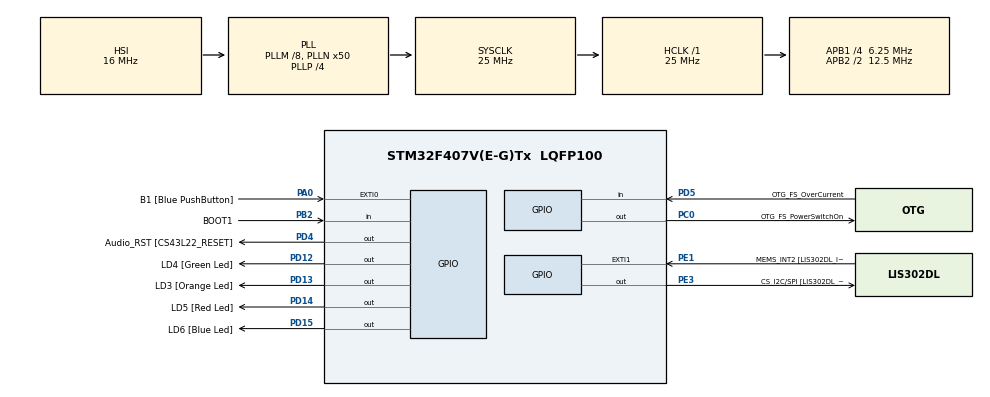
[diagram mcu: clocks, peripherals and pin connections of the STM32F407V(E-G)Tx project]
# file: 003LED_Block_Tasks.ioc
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Mcu.Family=STM32F4
Mcu.Name=STM32F407V(E-G)Tx
Mcu.Package=LQFP100
NVIC.PriorityGroup=NVIC_PRIORITYGROUP_4
NVIC.TIM6_DAC_IRQn=true\:15\:0\:false\:false\:true\:false\:true
NVIC.TimeBase=TIM6_DAC_IRQn
NVIC.TimeBaseIP=TIM6
PA0-WKUP.GPIO_Label=B1 [Blue PushButton]
PA0-WKUP.Signal=GPXTI0
PA10.GPIO_Label=OTG_FS_ID
PA10.GPIO_Mode=GPIO_MODE_AF_PP
PA10.GPIO_PuPd=GPIO_NOPULL
PA10.GPIO_Speed=GPIO_SPEED_FREQ_LOW
PA10.Signal=USB_OTG_FS_ID
PA11.GPIO_Label=OTG_FS_DM
PA11.GPIO_Mode=GPIO_MODE_AF_PP
PA11.GPIO_PuPd=GPIO_NOPULL
PA11.GPIO_Speed=GPIO_SPEED_FREQ_LOW
PA11.Signal=USB_OTG_FS_DM
PA12.GPIO_Label=OTG_FS_DP
PA12.GPIO_Mode=GPIO_MODE_AF_PP
PA12.GPIO_PuPd=GPIO_NOPULL
PA12.GPIO_Speed=GPIO_SPEED_FREQ_LOW
PA12.Signal=USB_OTG_FS_DP
PA13.GPIO_Label=SWDIO
PA13.Signal=SYS_JTMS-SWDIO
PA14.GPIO_Label=SWCLK
PA14.Signal=SYS_JTCK-SWCLK
PA4.GPIO_Label=I2S3_WS [CS43L22_LRCK]
PA4.GPIO_Mode=GPIO_MODE_AF_PP
PA4.GPIO_PuPd=GPIO_NOPULL
PA4.GPIO_Speed=GPIO_SPEED_FREQ_LOW
PA4.Signal=I2S3_WS
PA5.GPIO_Label=SPI1_SCK [LIS302DL_SCL/SPC]
PA5.GPIO_Mode=GPIO_MODE_AF_PP
PA5.GPIO_PuPd=GPIO_NOPULL
PA5.GPIO_Speed=GPIO_SPEED_FREQ_LOW
PA5.Signal=SPI1_SCK
PA6.GPIO_Label=SPI1_MISO [LIS302DL_SDO]
PA6.GPIO_Mode=GPIO_MODE_AF_PP
PA6.GPIO_PuPd=GPIO_NOPULL
PA6.GPIO_Speed=GPIO_SPEED_FREQ_LOW
PA6.Signal=SPI1_MISO
PA7.GPIO_Label=SPI1_MOSI [LIS302DL_SDA/SDI/SDO]
PA7.GPIO_Mode=GPIO_MODE_AF_PP
PA7.GPIO_PuPd=GPIO_NOPULL
PA7.GPIO_Speed=GPIO_SPEED_FREQ_LOW
PA7.Signal=SPI1_MOSI
PA9.GPIO_Label=VBUS_FS
PA9.GPIO_Mode=GPIO_MODE_INPUT
PA9.GPIO_PuPd=GPIO_NOPULL
PA9.Signal=USB_OTG_FS_VBUS
PB10.GPIO_Label=CLK_IN [MP45DT02_CLK]
PB10.GPIO_Mode=GPIO_MODE_AF_PP
PB10.GPIO_PuPd=GPIO_NOPULL
PB10.GPIO_Speed=GPIO_SPEED_FREQ_LOW
PB10.Signal=I2S2_CK
PB2.GPIO_Label=BOOT1
PB2.GPIO_Mode=GPIO_MODE_INPUT
PB2.GPIO_PuPd=GPIO_NOPULL
PB2.Signal=GPIO_Input
PB3.GPIO_Label=SWO
PB3.Signal=SYS_JTDO-SWO
PB6.GPIO_Label=Audio_SCL [CS43L22_SCL]
PB6.GPIO_Mode=GPIO_MODE_AF_OD
PB6.GPIO_PuPd=GPIO_NOPULL
PB6.GPIO_Speed=GPIO_SPEED_FREQ_LOW
PB6.Signal=I2C1_SCL
PB9.GPIO_Label=Audio_SDA [CS43L22_SDA]
PB9.GPIO_Mode=GPIO_MODE_AF_OD
PB9.GPIO_PuPd=GPIO_NOPULL
PB9.GPIO_Speed=GPIO_SPEED_FREQ_LOW
PB9.Signal=I2C1_SDA
PC0.GPIO_Label=OTG_FS_PowerSwitchOn
PC0.GPIO_PuPd=GPIO_NOPULL
PC0.GPIO_Speed=GPIO_SPEED_FREQ_LOW
PC0.PinState=GPIO_PIN_SET
PC0.Signal=GPIO_Output
PC10.GPIO_Label=I2S3_SCK [CS43L22_SCLK]
PC10.GPIO_Mode=GPIO_MODE_AF_PP
PC10.GPIO_PuPd=GPIO_NOPULL
PC10.GPIO_Speed=GPIO_SPEED_FREQ_LOW
PC10.Signal=I2S3_CK
PC12.GPIO_Label=I2S3_SD [CS43L22_SDIN]
PC12.GPIO_Mode=GPIO_MODE_AF_PP
PC12.GPIO_PuPd=GPIO_NOPULL
PC12.GPIO_Speed=GPIO_SPEED_FREQ_LOW
PC12.Signal=I2S3_SD
PC14-OSC32_IN.GPIO_Label=PC14-OSC32_IN
PC14-OSC32_IN.Signal=RCC_OSC32_IN
PC15-OSC32_OUT.GPIO_Label=PC15-OSC32_OUT
PC15-OSC32_OUT.Signal=RCC_OSC32_OUT
PC3.GPIO_Label=PDM_OUT [MP45DT02_DOUT]
PC3.GPIO_Mode=GPIO_MODE_AF_PP
PC3.GPIO_PuPd=GPIO_NOPULL
PC3.GPIO_Speed=GPIO_SPEED_FREQ_LOW
PC3.Signal=I2S2_SD
PC7.GPIO_Label=I2S3_MCK [CS43L22_MCLK]
PC7.GPIO_Mode=GPIO_MODE_AF_PP
PC7.GPIO_PuPd=GPIO_NOPULL
PC7.GPIO_Speed=GPIO_SPEED_FREQ_LOW
PC7.Signal=I2S3_MCK
PD12.GPIO_Label=LD4 [Green Led]
PD12.GPIO_PuPd=GPIO_NOPULL
PD12.GPIO_Speed=GPIO_SPEED_FREQ_LOW
PD12.Signal=GPIO_Output
PD13.GPIO_Label=LD3 [Orange Led]
PD13.GPIO_PuPd=GPIO_NOPULL
PD13.GPIO_Speed=GPIO_SPEED_FREQ_LOW
PD13.Signal=GPIO_Output
PD14.GPIO_Label=LD5 [Red Led]
PD14.GPIO_PuPd=GPIO_NOPULL
PD14.GPIO_Speed=GPIO_SPEED_FREQ_LOW
PD14.Signal=GPIO_Output
PD15.GPIO_Label=LD6 [Blue Led]
PD15.GPIO_PuPd=GPIO_NOPULL
PD15.GPIO_Speed=GPIO_SPEED_FREQ_LOW
PD15.Signal=GPIO_Output
PD4.GPIO_Label=Audio_RST [CS43L22_RESET]
PD4.GPIO_PuPd=GPIO_NOPULL
PD4.GPIO_Speed=GPIO_SPEED_FREQ_LOW
PD4.Signal=GPIO_Output
PD5.GPIO_Label=OTG_FS_OverCurrent
PD5.GPIO_Mode=GPIO_MODE_INPUT
PD5.GPIO_PuPd=GPIO_NOPULL
PD5.Signal=GPIO_Input
PE1.GPIO_Label=MEMS_INT2 [LIS302DL_INT2]
PE1.GPIO_ModeDefaultEXTI=GPIO_MODE_EVT_RISING
PE1.GPIO_PuPd=GPIO_NOPULL
PE1.Signal=GPXTI1
PE3.GPIO_Label=CS_I2C/SPI [LIS302DL_CS_I2C/SPI]
PE3.GPIO_PuPd=GPIO_NOPULL
PE3.GPIO_Speed=GPIO_SPEED_FREQ_LOW
PE3.Signal=GPIO_Output
PH0-OSC_IN.GPIO_Label=PH0-OSC_IN
PH0-OSC_IN.Signal=RCC_OSC_IN
PH1-OSC_OUT.GPIO_Label=PH1-OSC_OUT
PH1-OSC_OUT.Signal=RCC_OSC_OUT
ProjectManager.HeapSize=0x200
ProjectManager.StackSize=0x400
ProjectManager.TargetToolchain=STM32CubeIDE
RCC.48MHZClocksFreq_Value=14285714.285714285
RCC.AHBFreq_Value=25000000
RCC.APB1CLKDivider=RCC_HCLK_DIV4
RCC.APB1Freq_Value=6250000
RCC.APB1TimFreq_Value=12500000
RCC.APB2CLKDivider=RCC_HCLK_DIV2
RCC.APB2Freq_Value=12500000
RCC.APB2TimFreq_Value=25000000
RCC.CortexFreq_Value=25000000
RCC.HCLKFreq_Value=25000000
RCC.HSE_VALUE=8000000
RCC.HSI_VALUE=16000000
RCC.LSE_VALUE=32768
RCC.PLLM=8
RCC.PLLN=50
RCC.PLLP=RCC_PLLP_DIV4
RCC.PLLQ=7
RCC.SYSCLKFreq_VALUE=25000000
RCC.SYSCLKSource=RCC_SYSCLKSOURCE_PLLCLK
RCC.VCOOutputFreq_Value=100000000
VP_SYS_VS_tim6.Mode=TIM6
board=STM32F407G-DISC1

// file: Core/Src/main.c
/* USER CODE BEGIN Header */
/**
  ******************************************************************************
  * @file           : main.c
  * @brief          : Main program body
  ******************************************************************************
  * @attention
  *
  * <h2><center>&copy; Copyright (c) 2022 STMicroelectronics.
  * All rights reserved.</center></h2>
  *
  * This software component is licensed by ST under BSD 3-Clause license,
  * the "License"; You may not use this file except in compliance with the
  * License. You may obtain a copy of the License at:
  *                        opensource.org/licenses/BSD-3-Clause
  *
  ******************************************************************************
  */
/* USER CODE END Header */
#include "main.h"

/* USER CODE BEGIN Includes */
#include <stdio.h>
#include "FreeRTOS.h"
#include "task.h"
/* USER CODE END Includes */

/* USER CODE BEGIN PV */
#define DWT_CTRL	(*(volatile uint32_t*)0xE0001000)
/* USER CODE END PV */

void SystemClock_Config(void);
static void MX_GPIO_Init(void);
/* USER CODE BEGIN PFP */

static void led_green_handler(void *parameters);
static void led_orange_handler(void *parameters);
static void led_red_handler(void *parameters);
extern void SEGGER_UART_init(U32 baud);

/* USER CODE END PFP */

int main(void)
{
  /* USER CODE BEGIN 1 */
	TaskHandle_t task1_handle;
	TaskHandle_t task2_handle;
	TaskHandle_t task3_handle;

	BaseType_t status;

  /* USER CODE END 1 */

  /* MCU Configuration--------------------------------------------------------*/

  /* Reset of all peripherals, Initializes the Flash interface and the Systick. */
  HAL_Init();

  /* Configure the system clock */
  SystemClock_Config();

  /* Initialize all configured peripherals */
  MX_GPIO_Init();
  /* USER CODE BEGIN 2 */

  // Enable the CYCCNT counter
  DWT_CTRL |= (1 << 0);

  SEGGER_UART_init(500000);

  SEGGER_SYSVIEW_Conf();

  SEGGER_SYSVIEW_Start();

  status = xTaskCreate(led_green_handler, "led_green_task", 200, NULL, 2, &task1_handle);

  configASSERT(status == pdPASS);

  status = xTaskCreate(led_orange_handler, "led_orange_task", 200, NULL, 2, &task2_handle);

  configASSERT(status == pdPASS);

  status = xTaskCreate(led_red_handler, "led_red_task", 200, NULL, 2, &task3_handle);

  configASSERT(status == pdPASS);

  // start the freeRTOS schedular
  vTaskStartScheduler();

  // if the control comes here then the launch of the schedular has failed due to insufficient memory in heap

  /* USER CODE END 2 */

  /* Infinite loop */
  while (1)
  {

  }
}

void SystemClock_Config(void)
{
  RCC_OscInitTypeDef RCC_OscInitStruct = {0};
  RCC_ClkInitTypeDef RCC_ClkInitStruct = {0};

  /** Configure the main internal regulator output voltage
  */
  __HAL_RCC_PWR_CLK_ENABLE();
  __HAL_PWR_VOLTAGESCALING_CONFIG(PWR_REGULATOR_VOLTAGE_SCALE1);
  /** Initializes the RCC Oscillators according to the specified parameters
  * in the RCC_OscInitTypeDef structure.
  */
  RCC_OscInitStruct.OscillatorType = RCC_OSCILLATORTYPE_HSI;
  RCC_OscInitStruct.HSIState = RCC_HSI_ON;
  RCC_OscInitStruct.HSICalibrationValue = RCC_HSICALIBRATION_DEFAULT;
  RCC_OscInitStruct.PLL.PLLState = RCC_PLL_ON;
  RCC_OscInitStruct.PLL.PLLSource = RCC_PLLSOURCE_HSI;
  RCC_OscInitStruct.PLL.PLLM = 8;
  RCC_OscInitStruct.PLL.PLLN = 50;
  RCC_OscInitStruct.PLL.PLLP = RCC_PLLP_DIV4;
  RCC_OscInitStruct.PLL.PLLQ = 7;
  if (HAL_RCC_OscConfig(&RCC_OscInitStruct) != HAL_OK)
  {
    Error_Handler();
  }
  /** Initializes the CPU, AHB and APB buses clocks
  */
  RCC_ClkInitStruct.ClockType = RCC_CLOCKTYPE_HCLK|RCC_CLOCKTYPE_SYSCLK
                              |RCC_CLOCKTYPE_PCLK1|RCC_CLOCKTYPE_PCLK2;
  RCC_ClkInitStruct.SYSCLKSource = RCC_SYSCLKSOURCE_PLLCLK;
  RCC_ClkInitStruct.AHBCLKDivider = RCC_SYSCLK_DIV1;
  RCC_ClkInitStruct.APB1CLKDivider = RCC_HCLK_DIV4;
  RCC_ClkInitStruct.APB2CLKDivider = RCC_HCLK_DIV2;

  if (HAL_RCC_ClockConfig(&RCC_ClkInitStruct, FLASH_LATENCY_0) != HAL_OK)
  {
    Error_Handler();
  }
}

static void MX_GPIO_Init(void)
{
  GPIO_InitTypeDef GPIO_InitStruct = {0};

  /* GPIO Ports Clock Enable */
  __HAL_RCC_GPIOE_CLK_ENABLE();
  __HAL_RCC_GPIOC_CLK_ENABLE();
  __HAL_RCC_GPIOH_CLK_ENABLE();
  __HAL_RCC_GPIOA_CLK_ENABLE();
  __HAL_RCC_GPIOB_CLK_ENABLE();
  __HAL_RCC_GPIOD_CLK_ENABLE();

  /*Configure GPIO pin Output Level */
  HAL_GPIO_WritePin(CS_I2C_SPI_GPIO_Port, CS_I2C_SPI_Pin, GPIO_PIN_RESET);

  /*Configure GPIO pin Output Level */
  HAL_GPIO_WritePin(OTG_FS_PowerSwitchOn_GPIO_Port, OTG_FS_PowerSwitchOn_Pin, GPIO_PIN_SET);

  /*Configure GPIO pin Output Level */
  HAL_GPIO_WritePin(GPIOD, LD4_Pin|LD3_Pin|LD5_Pin|LD6_Pin
                          |Audio_RST_Pin, GPIO_PIN_RESET);

  /*Configure GPIO pin : CS_I2C_SPI_Pin */
  GPIO_InitStruct.Pin = CS_I2C_SPI_Pin;
  GPIO_InitStruct.Mode = GPIO_MODE_OUTPUT_PP;
  GPIO_InitStruct.Pull = GPIO_NOPULL;
  GPIO_InitStruct.Speed = GPIO_SPEED_FREQ_LOW;
  HAL_GPIO_Init(CS_I2C_SPI_GPIO_Port, &GPIO_InitStruct);

  /*Configure GPIO pin : OTG_FS_PowerSwitchOn_Pin */
  GPIO_InitStruct.Pin = OTG_FS_PowerSwitchOn_Pin;
  GPIO_InitStruct.Mode = GPIO_MODE_OUTPUT_PP;
  GPIO_InitStruct.Pull = GPIO_NOPULL;
  GPIO_InitStruct.Speed = GPIO_SPEED_FREQ_LOW;
  HAL_GPIO_Init(OTG_FS_PowerSwitchOn_GPIO_Port, &GPIO_InitStruct);

  /*Configure GPIO pin : PDM_OUT_Pin */
  GPIO_InitStruct.Pin = PDM_OUT_Pin;
  GPIO_InitStruct.Mode = GPIO_MODE_AF_PP;
  GPIO_InitStruct.Pull = GPIO_NOPULL;
  GPIO_InitStruct.Speed = GPIO_SPEED_FREQ_LOW;
  GPIO_InitStruct.Alternate = GPIO_AF5_SPI2;
  HAL_GPIO_Init(PDM_OUT_GPIO_Port, &GPIO_InitStruct);

  /*Configure GPIO pin : B1_Pin */
  GPIO_InitStruct.Pin = B1_Pin;
  GPIO_InitStruct.Mode = GPIO_MODE_IT_RISING;
  GPIO_InitStruct.Pull = GPIO_NOPULL;
  HAL_GPIO_Init(B1_GPIO_Port, &GPIO_InitStruct);

  /*Configure GPIO pin : I2S3_WS_Pin */
  GPIO_InitStruct.Pin = I2S3_WS_Pin;
  GPIO_InitStruct.Mode = GPIO_MODE_AF_PP;
  GPIO_InitStruct.Pull = GPIO_NOPULL;
  GPIO_InitStruct.Speed = GPIO_SPEED_FREQ_LOW;
  GPIO_InitStruct.Alternate = GPIO_AF6_SPI3;
  HAL_GPIO_Init(I2S3_WS_GPIO_Port, &GPIO_InitStruct);

  /*Configure GPIO pins : SPI1_SCK_Pin SPI1_MISO_Pin SPI1_MOSI_Pin */
  GPIO_InitStruct.Pin = SPI1_SCK_Pin|SPI1_MISO_Pin|SPI1_MOSI_Pin;
  GPIO_InitStruct.Mode = GPIO_MODE_AF_PP;
  GPIO_InitStruct.Pull = GPIO_NOPULL;
  GPIO_InitStruct.Speed = GPIO_SPEED_FREQ_LOW;
  GPIO_InitStruct.Alternate = GPIO_AF5_SPI1;
  HAL_GPIO_Init(GPIOA, &GPIO_InitStruct);

  /*Configure GPIO pin : BOOT1_Pin */
  GPIO_InitStruct.Pin = BOOT1_Pin;
  GPIO_InitStruct.Mode = GPIO_MODE_INPUT;
  GPIO_InitStruct.Pull = GPIO_NOPULL;
  HAL_GPIO_Init(BOOT1_GPIO_Port, &GPIO_InitStruct);

  /*Configure GPIO pin : CLK_IN_Pin */
  GPIO_InitStruct.Pin = CLK_IN_Pin;
  GPIO_InitStruct.Mode = GPIO_MODE_AF_PP;
  GPIO_InitStruct.Pull = GPIO_NOPULL;
  GPIO_InitStruct.Speed = GPIO_SPEED_FREQ_LOW;
  GPIO_InitStruct.Alternate = GPIO_AF5_SPI2;
  HAL_GPIO_Init(CLK_IN_GPIO_Port, &GPIO_InitStruct);

  /*Configure GPIO pins : LD4_Pin LD3_Pin LD5_Pin LD6_Pin
                           Audio_RST_Pin */
  GPIO_InitStruct.Pin = LD4_Pin|LD3_Pin|LD5_Pin|LD6_Pin
                          |Audio_RST_Pin;
  GPIO_InitStruct.Mode = GPIO_MODE_OUTPUT_PP;
  GPIO_InitStruct.Pull = GPIO_NOPULL;
  GPIO_InitStruct.Speed = GPIO_SPEED_FREQ_LOW;
  HAL_GPIO_Init(GPIOD, &GPIO_InitStruct);

  /*Configure GPIO pins : I2S3_MCK_Pin I2S3_SCK_Pin I2S3_SD_Pin */
  GPIO_InitStruct.Pin = I2S3_MCK_Pin|I2S3_SCK_Pin|I2S3_SD_Pin;
  GPIO_InitStruct.Mode = GPIO_MODE_AF_PP;
  GPIO_InitStruct.Pull = GPIO_NOPULL;
  GPIO_InitStruct.Speed = GPIO_SPEED_FREQ_LOW;
  GPIO_InitStruct.Alternate = GPIO_AF6_SPI3;
  HAL_GPIO_Init(GPIOC, &GPIO_InitStruct);

  /*Configure GPIO pin : VBUS_FS_Pin */
  GPIO_InitStruct.Pin = VBUS_FS_Pin;
  GPIO_InitStruct.Mode = GPIO_MODE_INPUT;
  GPIO_InitStruct.Pull = GPIO_NOPULL;
  HAL_GPIO_Init(VBUS_FS_GPIO_Port, &GPIO_InitStruct);

  /*Configure GPIO pins : OTG_FS_ID_Pin OTG_FS_DM_Pin OTG_FS_DP_Pin */
  GPIO_InitStruct.Pin = OTG_FS_ID_Pin|OTG_FS_DM_Pin|OTG_FS_DP_Pin;
  GPIO_InitStruct.Mode = GPIO_MODE_AF_PP;
  GPIO_InitStruct.Pull = GPIO_NOPULL;
  GPIO_InitStruct.Speed = GPIO_SPEED_FREQ_LOW;
  GPIO_InitStruct.Alternate = GPIO_AF10_OTG_FS;
  HAL_GPIO_Init(GPIOA, &GPIO_InitStruct);

  /*Configure GPIO pin : OTG_FS_OverCurrent_Pin */
  GPIO_InitStruct.Pin = OTG_FS_OverCurrent_Pin;
  GPIO_InitStruct.Mode = GPIO_MODE_INPUT;
  GPIO_InitStruct.Pull = GPIO_NOPULL;
  HAL_GPIO_Init(OTG_FS_OverCurrent_GPIO_Port, &GPIO_InitStruct);

  /*Configure GPIO pins : Audio_SCL_Pin Audio_SDA_Pin */
  GPIO_InitStruct.Pin = Audio_SCL_Pin|Audio_SDA_Pin;
  GPIO_InitStruct.Mode = GPIO_MODE_AF_OD;
  GPIO_InitStruct.Pull = GPIO_NOPULL;
  GPIO_InitStruct.Speed = GPIO_SPEED_FREQ_LOW;
  GPIO_InitStruct.Alternate = GPIO_AF4_I2C1;
  HAL_GPIO_Init(GPIOB, &GPIO_InitStruct);

  /*Configure GPIO pin : MEMS_INT2_Pin */
  GPIO_InitStruct.Pin = MEMS_INT2_Pin;
  GPIO_InitStruct.Mode = GPIO_MODE_EVT_RISING;
  GPIO_InitStruct.Pull = GPIO_NOPULL;
  HAL_GPIO_Init(MEMS_INT2_GPIO_Port, &GPIO_InitStruct);

}

/* USER CODE BEGIN 4 */
static void led_green_handler(void *parameters)
{
	TickType_t last_wakeup_time;

	last_wakeup_time = xTaskGetTickCount();

	while(1)
	{
		//SEGGER_SYSVIEW_PrintfTarget("Toggling green LED");
		HAL_GPIO_TogglePin(GPIOD, LED_GREEN_PIN);
		vTaskDelayUntil(&last_wakeup_time, pdMS_TO_TICKS(1000));
	}
}

static void led_orange_handler(void *parameters)
{
	TickType_t last_wakeup_time;

	last_wakeup_time = xTaskGetTickCount();

	while(1)
	{
		//SEGGER_SYSVIEW_PrintfTarget("Toggling orange LED");
		HAL_GPIO_TogglePin(GPIOD, LED_ORANGE_PIN);
		vTaskDelayUntil(&last_wakeup_time, pdMS_TO_TICKS(800));
	}
}

static void led_red_handler(void *parameters)
{
	TickType_t last_wakeup_time;

	last_wakeup_time = xTaskGetTickCount();
	while(1)
	{
		//SEGGER_SYSVIEW_PrintfTarget("Toggling red LED");
		HAL_GPIO_TogglePin(GPIOD, LED_RED_PIN);
		vTaskDelayUntil(&last_wakeup_time, pdMS_TO_TICKS(400));
	}
}

/* USER CODE END 4 */

void HAL_TIM_PeriodElapsedCallback(TIM_HandleTypeDef *htim)
{
  if (htim->Instance == TIM6) {
    HAL_IncTick();
  }
}

void Error_Handler(void)
{
  __disable_irq();
  while (1)
  {
  }
}

/************************ (C) COPYRIGHT STMicroelectronics *****END OF FILE****/
